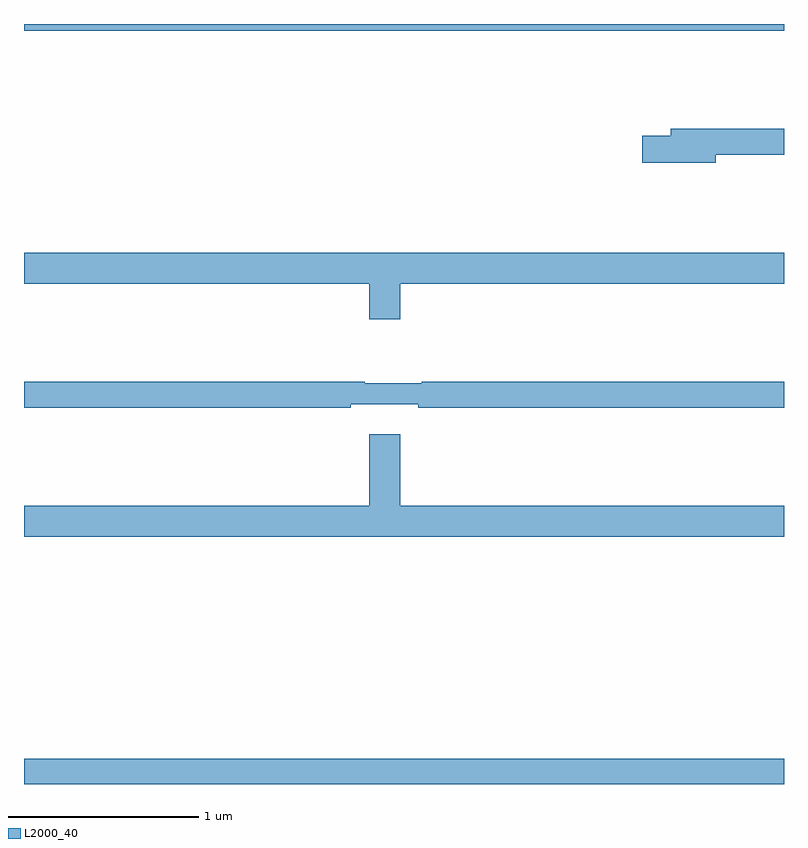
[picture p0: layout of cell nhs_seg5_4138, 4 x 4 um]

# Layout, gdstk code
import gdstk
lib = gdstk.Library(unit=1e-6, precision=1e-09)
def R(c, l, rs):  # rectangles x0, y0, x1, y1
    for r in rs: c.add(gdstk.rectangle(r[:2], r[2:], *l))
def P(c, l, *ps):  # polygons
    for p in ps: c.add(gdstk.Polygon(p, *l))
L2000_40 = (2000, 40)

nhs_seg5_4138 = lib.new_cell('nhs_seg5_4138')
R(nhs_seg5_4138, L2000_40, [(355,848.799,359,848.932), (355,852.764,359,852.799)])
P(nhs_seg5_4138, L2000_40, [(358.642,852.112),(359,852.112),(359,852.248),(358.403,852.248),(358.403,852.212),(358.254,852.212),(358.254,852.07),(358.642,852.07)],
  [(356.98,851.432),(359,851.432),(359,851.596),(355,851.596),(355,851.432),(356.816,851.432),(356.816,851.244),(356.98,851.244)],
  [(356.72,850.799),(357.076,850.799),(357.076,850.78),(359,850.78),(359,850.916),(357.094,850.916),(357.094,850.909),(356.794,850.909),(356.794,850.916),(355,850.916),(355,850.78),(356.72,850.78)],
  [(359,850.264),(356.98,850.264),(356.98,850.639),(356.816,850.639),(356.816,850.264),(355,850.264),(355,850.1),(359,850.1)])

lib.write_gds('nhs_seg5_4138.gds')
